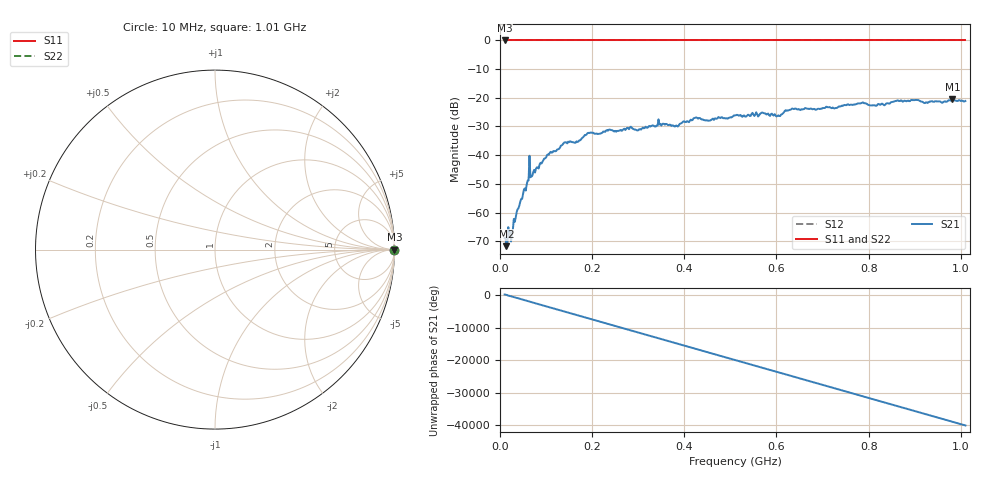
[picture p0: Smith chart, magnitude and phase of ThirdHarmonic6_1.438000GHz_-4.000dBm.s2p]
! 8/16/2025 4:36:39 PM
! C:\ANRITSUVNA\TEMP\TEMP.S2P
! CHANNEL.1
! TR.MEASUREMENT
! RAW.DATA
! RF.CORRECTION.OFF
! AVERAGING.OFF
! IF.BANDWIDTH: 5KHZ
! SWEEPTYPE:  FREQ.SWEEP(Linear)
! Reference Plane Port Info
! PORT:  PORT1  PORT2
! DISTANCE:  0  m  0  m
! TIME:  0  s  0  s
! PHASE.OFFSET:  0  deg.  0  deg.
! LOSS:  0  dB  0  dB
! REF.LOSS:  0  dB  0  dB
! REF.FREQ:  0  Hz  0  Hz
! Power Info
! POWER:  -20  dBm  -20  dBm
! EFF.POWER:  -20  dBm  -20  dBm
! SOURCE.ATTEN:  0  dB  0  dB
! TEST.ATTEN:  0  dB  0  dB
# GHZ S RI R 50.0
! FREQ.GHZ  S11RE  S11IM  S21RE  S21IM  S12RE  S12IM  S22RE  S22IM
!; PortSelection: Port_12
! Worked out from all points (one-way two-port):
!   501 points, 10 MHz to 1.01 GHz, reference 50 ohm
!   highest |S21| = -20.55 dB at 982 MHz (marker M1); lowest = -71.7 dB at 14 MHz (marker M2)
!   lowest |S11| = 0.0 dB at 10 MHz (marker M3)
!   |S11| at or under -10 dB: nowhere
!   |S22| runs from 0.0 to 0.0 dB; largest |S21 - S12| = 1.1
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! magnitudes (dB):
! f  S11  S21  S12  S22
! 10 MHz  0.0  -68.9  0.0  0.0
! 14 MHz  0.0  -71.7  0.0  0.0
! 24 MHz  0.0  -70.1  0.0  0.0
! 58 MHz  0.0  -50.1  0.0  0.0
! 60 MHz  0.0  -48.9  0.0  0.0
! 68 MHz  0.0  -47.5  0.0  0.0
! 70 MHz  0.0  -47.2  0.0  0.0
! 106 MHz  0.0  -39.8  0.0  0.0
! 138 MHz  0.0  -35.8  0.0  0.0
! 178 MHz  0.0  -34.0  0.0  0.0
! 194 MHz  0.0  -32.3  0.0  0.0
! 302 MHz  0.0  -31.0  0.0  0.0
! 344 MHz  0.0  -27.5  0.0  0.0
! 382 MHz  0.0  -29.7  0.0  0.0
! 424 MHz  0.0  -27.0  0.0  0.0
! 510 MHz  0.0  -26.1  0.0  0.0
! 604 MHz  0.0  -26.1  0.0  0.0
! 636 MHz  0.0  -23.8  0.0  0.0
! 678 MHz  0.0  -24.0  0.0  0.0
! 844 MHz  0.0  -22.0  0.0  0.0
! 982 MHz  0.0  -20.5  0.0  0.0
! 1.01 GHz  0.0  -21.1  0.0  0.0
